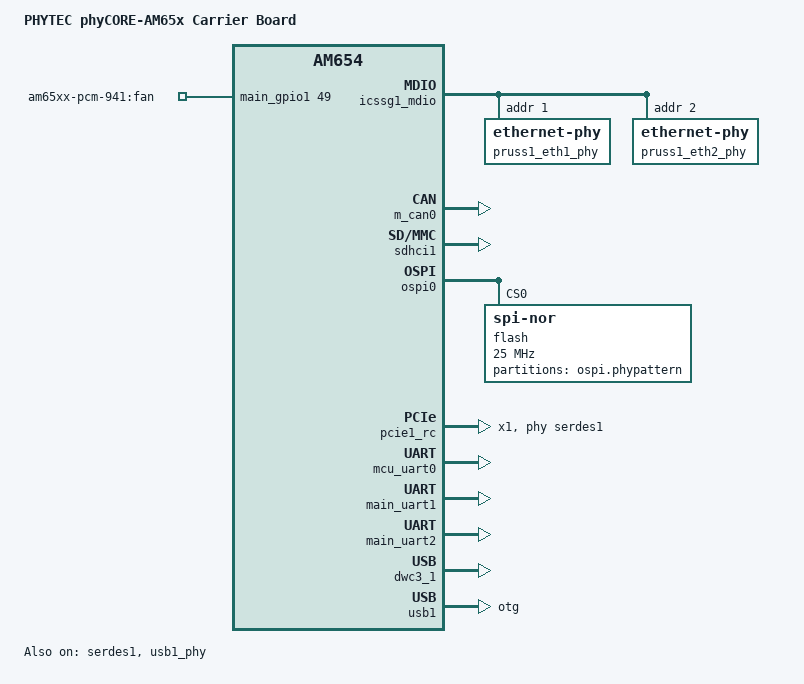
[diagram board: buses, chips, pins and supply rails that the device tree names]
// SPDX-License-Identifier: GPL-2.0
/*
 * Copyright (C) 2018-2020 PHYTEC America, LLC - https://www.phytec.com
 */

#include <dt-bindings/phy/phy.h>

/ {
	model = "PHYTEC phyCORE-AM65x Carrier Board";
	compatible = "phytec,am65xx-pcm-941", "phytec,am65xx-phycore-som", "ti,am654";

	aliases {
		ethernet1 = &pruss1_emac0;
		ethernet2 = &pruss1_emac1;
	};

	chosen {
		/* UART1 as default stdout path */
		stdout-path = &main_uart1;
		bootargs = "earlycon=ns16550a,mmio32,0x02810000";
	};

	display: display {
		status = "disabled";
		pinctrl-names = "default";
		pinctrl-0 = <&display_backlight_en_pin>;

		backlight = <&display_backlight>;
		enable-gpios = <&main_gpio1 57 GPIO_ACTIVE_LOW>;
	};

	display_backlight: display_backlight {
		status = "disabled";
		compatible = "pwm-backlight";
		pwms = <&ecap0 0 50000 0>;
	};

	/* fan set always on */
	gpio_fan: gpio_fan {
		compatible = "gpio-leds";
		pinctrl-names = "default";
		pinctrl-0 = <&gpio_fan_pins_default>;

		fan@0 {
			label = "am65xx-pcm-941:fan";
			gpios = <&main_gpio1 49 GPIO_ACTIVE_HIGH>;
			default-state = "on";
		};
	};

	/* Dual Ethernet application node on PRU-ICSSG1 */
	pruss1_eth: pruss1_eth {
		compatible = "ti,am654-icssg-prueth";
		pinctrl-names = "default";
		pinctrl-0 = <&icssg1_rgmii_pins_default>;
		sram = <&msmc_ram>;
		prus = <&pru1_0>, <&rtu1_0>, <&tx_pru1_0>, <&pru1_1>, <&rtu1_1>, <&tx_pru1_1>;
		firmware-name = "ti-pruss/am65x-sr2-pru0-prueth-fw.elf",
				"ti-pruss/am65x-sr2-rtu0-prueth-fw.elf",
				"ti-pruss/am65x-sr2-txpru0-prueth-fw.elf",
				"ti-pruss/am65x-sr2-pru1-prueth-fw.elf",
				"ti-pruss/am65x-sr2-rtu1-prueth-fw.elf",
				"ti-pruss/am65x-sr2-txpru1-prueth-fw.elf";

		ti,pruss-gp-mux-sel = <2>,	/* MII mode */
				      <2>,
				      <2>,
				      <2>,	/* MII mode */
				      <2>,
				      <2>;
		mii-g-rt = <&icssg1_mii_g_rt>;
		mii-rt = <&icssg1_mii_rt>;
		dma-coherent;
		dmas = <&main_udmap 0xc200>, /* egress slice 0 */
		       <&main_udmap 0xc201>, /* egress slice 0 */
		       <&main_udmap 0xc202>, /* egress slice 0 */
		       <&main_udmap 0xc203>, /* egress slice 0 */
		       <&main_udmap 0xc204>, /* egress slice 1 */
		       <&main_udmap 0xc205>, /* egress slice 1 */
		       <&main_udmap 0xc206>, /* egress slice 1 */
		       <&main_udmap 0xc207>, /* egress slice 1 */

		       <&main_udmap 0x4200>, /* ingress slice 0 */
		       <&main_udmap 0x4201>, /* ingress slice 1 */
		       <&main_udmap 0x4202>, /* mgmnt rsp slice 0 */
		       <&main_udmap 0x4203>; /* mgmnt rsp slice 1 */
		dma-names = "tx0-0", "tx0-1", "tx0-2", "tx0-3",
			    "tx1-0", "tx1-1", "tx1-2", "tx1-3",
			    "rx0", "rx1",
			    "rxmgm0", "rxmgm1";

		pruss1_emac0: ethernet-mii0 {
			phy-handle = <&pruss1_eth1_phy>;
			phy-mode = "rgmii-rxid";
			interrupts-extended = <&icssg1_intc 24>;
			syscon-rgmii-delay = <&scm_conf 0x4110>;
			iep = <&icssg1_iep0>;
			/* Filled in by bootloader */
			local-mac-address = [00 00 00 00 00 00];
		};

		pruss1_emac1: ethernet-mii1 {
			phy-handle = <&pruss1_eth2_phy>;
			phy-mode = "rgmii-rxid";
			interrupts-extended = <&icssg1_intc 25>;
			syscon-rgmii-delay = <&scm_conf 0x4114>;
			/* Filled in by bootloader */
			local-mac-address = [00 00 00 00 00 00];
		};
	};
};

&main_pmx0 {
	display_backlight_en_pin: display_backlight_en_pin {
		pinctrl-single,pins = <
			AM65X_IOPAD(0x0264, PIN_OUTPUT, 7)	/* (W27) PRG0_PRU1_GPO8.GPIO1_57 */
		>;
	};

	gpio_fan_pins_default: gpio_fan_pins_default {
		pinctrl-single,pins = <
			AM65X_IOPAD(0x0244, PIN_OUTPUT, 7)	/* (AB28) PRG0_PRU1_GPO0.GPIO1_49 */
		>;
	};

	icssg1_mdio_pins_default: icssg1_mdio_pins_default {
		pinctrl-single,pins = <
			AM65X_IOPAD(0x0180, PIN_INPUT, 0)	/* (AD18) PRG1_MDIO0_MDIO */
			AM65X_IOPAD(0x0184, PIN_OUTPUT, 0)	/* (AH18) PRG1_MDIO0_MDC */
		>;
	};

	icssg1_rgmii_pins_default: icssg1_rgmii_pins_default {
		pinctrl-single,pins = <
			AM65X_IOPAD(0x00e0, PIN_INPUT, 2)	/* (AE22) PRG1_PRU0_GPO0.PRG1_RGMII1_RD0 */
			AM65X_IOPAD(0x00e4, PIN_INPUT, 2)	/* (AG24) PRG1_PRU0_GPO1.PRG1_RGMII1_RD1 */
			AM65X_IOPAD(0x00e8, PIN_INPUT, 2)	/* (AF23) PRG1_PRU0_GPO2.PRG1_RGMII1_RD2 */
			AM65X_IOPAD(0x00ec, PIN_INPUT, 2)	/* (AD21) PRG1_PRU0_GPO3.PRG1_RGMII1_RD3 */
			AM65X_IOPAD(0x00f0, PIN_INPUT, 2)	/* (AG23) PRG1_PRU0_GPO4.PRG1_RGMII1_RX_CTL */
			AM65X_IOPAD(0x00f8, PIN_INPUT, 2)	/* (AF22) PRG1_PRU0_GPO6.PRG1_RGMII1_RXC */
			AM65X_IOPAD(0x010c, PIN_OUTPUT, 2)	/* (AF21) PRG1_PRU0_GPO11.PRG1_RGMII1_TX_CTL */
			AM65X_IOPAD(0x0110, PIN_OUTPUT, 2)	/* (AH20) PRG1_PRU0_GPO12.PRG1_RGMII1_TD0 */
			AM65X_IOPAD(0x0114, PIN_OUTPUT, 2)	/* (AH21) PRG1_PRU0_GPO13.PRG1_RGMII1_TD1 */
			AM65X_IOPAD(0x0118, PIN_OUTPUT, 2)	/* (AG20) PRG1_PRU0_GPO14.PRG1_RGMII1_TD2 */
			AM65X_IOPAD(0x011c, PIN_OUTPUT, 2)	/* (AD19) PRG1_PRU0_GPO15.PRG1_RGMII1_TD3 */
			AM65X_IOPAD(0x0120, PIN_INPUT, 2)	/* (AD20) PRG1_PRU0_GPO16.PRG1_RGMII1_TXC */

			AM65X_IOPAD(0x0130, PIN_INPUT, 2)	/* (AH24) PRG1_PRU1_GPO0.PRG1_RGMII2_RD0 */
			AM65X_IOPAD(0x0134, PIN_INPUT, 2)	/* (AH23) PRG1_PRU1_GPO1.PRG1_RGMII2_RD1 */
			AM65X_IOPAD(0x0138, PIN_INPUT, 2)	/* (AG21) PRG1_PRU1_GPO2.PRG1_RGMII2_RD2 */
			AM65X_IOPAD(0x013c, PIN_INPUT, 2)	/* (AH22) PRG1_PRU1_GPO3.PRG1_RGMII2_RD3 */
			AM65X_IOPAD(0x0140, PIN_INPUT, 2)	/* (AE21) PRG1_PRU1_GPO4.PRG1_RGMII2_RX_CTL */
			AM65X_IOPAD(0x0148, PIN_INPUT, 2)	/* (AG22) PRG1_PRU1_GPO6.PRG1_RGMII2_RXC */
			AM65X_IOPAD(0x015c, PIN_OUTPUT, 2)	/* (AC20) PRG1_PRU1_GPO11.PRG1_RGMII2_TX_CTL */
			AM65X_IOPAD(0x0160, PIN_OUTPUT, 2)	/* (AE20) PRG1_PRU1_GPO12.PRG1_RGMII2_TD0 */
			AM65X_IOPAD(0x0164, PIN_OUTPUT, 2)	/* (AF19) PRG1_PRU1_GPO13.PRG1_RGMII2_TD1 */
			AM65X_IOPAD(0x0168, PIN_OUTPUT, 2)	/* (AH19) PRG1_PRU1_GPO14.PRG1_RGMII2_TD2 */
			AM65X_IOPAD(0x016c, PIN_OUTPUT, 2)	/* (AG19) PRG1_PRU1_GPO15.PRG1_RGMII2_TD3 */
			AM65X_IOPAD(0x0170, PIN_INPUT, 2)	/* (AE19) PRG1_PRU1_GPO16.PRG1_RGMII2_TXC */
		>;
	};

	touchscreen_irq_pin: touchscreen_irq_pin {
		pinctrl-single,pins = <
			AM65X_IOPAD(0x025c, PIN_INPUT, 7)	/* (AB27) PRG0_PRU1_GPO6.GPIO1_55 */
		>;
	};

	main_uart1_pins_default: main_uart1_pins_default {
		pinctrl-single,pins = <
			AM65X_IOPAD(0x014c, PIN_OUTPUT, 6)	/* (AD23) PRG1_PRU1GPO6.UART1_TXD */
			AM65X_IOPAD(0x0174, PIN_INPUT, 6)	/* (AE23) PRG1_PRU1GPO17.UART1_RXD */
			AM65X_IOPAD(0x0178, PIN_INPUT, 6)	/* (AD22) PRG1_PRU1GPO18.UART1_CTS */
			AM65X_IOPAD(0x017c, PIN_OUTPUT, 6)	/* (AC21) PRG1_PRU1GPO19.UART1_RTS */
		>;
	};

	main_uart2_pins_default: main_uart2_pins_default {
		pinctrl-single,pins = <
			AM65X_IOPAD(0x0260, PIN_OUTPUT, 6)	/* (W28) PRG0_PRU1_GPO7.UART2_TXD */
			AM65X_IOPAD(0x0288, PIN_INPUT, 6)	/* (Y27) PRG0_PRU1_GPO17.UART2_RXD */
			AM65X_IOPAD(0x028c, PIN_INPUT, 6)	/* (Y26) PRG0_PRU1_GPO18.UART2_CTS */
			AM65X_IOPAD(0x0290, PIN_OUTPUT, 6)	/* (W26) PRG_PRU1_GPO19.UART2_RTS */
		>;
	};

	usb1_pins_default: usb1_pins_default {
		pinctrl-single,pins = <
			AM65X_IOPAD(0x02c0, PIN_OUTPUT, 0)	/* (AC8) USB1_DRVVBUS */
		>;
	};
};

&main_pmx1 {
	ecap0_pins_default: ecap0_pins_default {
		pinctrl-single,pins = <
			AM65X_IOPAD(0x0010, PIN_INPUT, 0)	/* (D21) ECAP0_IN_APWM_OUT */
		>;
	};
};

&wkup_pmx0 {
	mcu_fss0_ospi0_pins_default: mcu_fss0_ospi0_pins_default {
		pinctrl-single,pins = <
			AM65X_WKUP_IOPAD(0x0000, PIN_OUTPUT_PULLDOWN, 0)	/* (V1) MCU_OSPI0_CLK */
			AM65X_WKUP_IOPAD(0x0008, PIN_INPUT, 0)			/* (U2) MCU_OSPI0_DQS */
			AM65X_WKUP_IOPAD(0x000c, PIN_INPUT, 0)			/* (U4) MCU_OSPI0_D0 */
			AM65X_WKUP_IOPAD(0x0010, PIN_INPUT, 0)			/* (U5) MCU_OSPI0_D1 */
			AM65X_WKUP_IOPAD(0x0014, PIN_INPUT_PULLUP, 0)		/* (T2) MCU_OSPI0_D2 */
			AM65X_WKUP_IOPAD(0x0018, PIN_INPUT, 0)			/* (T3) MCU_OSPI0_D3 */
			AM65X_WKUP_IOPAD(0x001c, PIN_INPUT, 0)			/* (T4) MCU_OSPI0_D4 */
			AM65X_WKUP_IOPAD(0x0020, PIN_INPUT, 0)			/* (T5) MCU_OSPI0_D5 */
			AM65X_WKUP_IOPAD(0x0024, PIN_INPUT, 0)			/* (R2) MCU_OSPI0_D6 */
			AM65X_WKUP_IOPAD(0x0028, PIN_INPUT, 0)			/* (R3) MCU_OSPI0_D7 */
			AM65X_WKUP_IOPAD(0x002c, PIN_OUTPUT, 0)			/* (R4) MCU_OSPI0_CSn0 */
		>;
	};

	mcu_mcan0_pins_default: mcu_mcan0_pins_default {
		pinctrl-single,pins = <
			AM65X_WKUP_IOPAD(0x00a8, PIN_OUTPUT_PULLUP, 0)	/* (W1) MCU_MCAN0_TX */
			AM65X_WKUP_IOPAD(0x00ac, PIN_INPUT_PULLUP, 0)	/* (W2) MCU_MCAN0_RX */
		>;
	};

	mcu_uart0_pins_default: mcu_uart0_pins_default {
		pinctrl-single,pins = <
			AM65X_IOPAD(0x0044, PIN_INPUT, 4)	/* (P4) PRG0_PRU1_GPO17.UART2_RXD */
			AM65X_IOPAD(0x0048, PIN_OUTPUT, 4)	/* (P5) PRG0_PRU1_GPO7.UART2_TXD */
			AM65X_IOPAD(0x004c, PIN_INPUT, 4)	/* (P1) PRG0_PRU1_GPO18.UART2_CTS */
			AM65X_IOPAD(0x0054, PIN_OUTPUT, 4)	/* (N3) PRG_PRU1_GPO19.UART2_RTS */
		>;
	};
};

&icssg1_mdio {
	status = "okay";
	pinctrl-names = "default";
	pinctrl-0 = <&icssg1_mdio_pins_default>;

	pruss1_eth1_phy: ethernet-phy@1 {
		reg = <1>;
		ti,rx-internal-delay = <DP83867_RGMIIDCTL_2_00_NS>;
		ti,fifo-depth = <DP83867_PHYCR_FIFO_DEPTH_4_B_NIB>;
		ti,led-0-active-low;
		ti,led-2-active-low;
	};

	pruss1_eth2_phy: ethernet-phy@2 {
		reg = <2>;
		ti,rx-internal-delay = <DP83867_RGMIIDCTL_2_00_NS>;
		ti,fifo-depth = <DP83867_PHYCR_FIFO_DEPTH_4_B_NIB>;
		ti,led-0-active-low;
		ti,led-2-active-low;
	};
};

&dss_ports {
	display_port: port {
		status = "disabled";

		reg = <0>;
	};
};

&ecap0 {
	status = "disabled";
	pinctrl-names = "default";
	pinctrl-0 = <&ecap0_pins_default>;
};

&main_i2c0 {
	ft5x06: ft5x06@38 {
		status = "disabled";
		pinctrl-names = "default";
		pinctrl-0 = <&touchscreen_irq_pin>;
		interrupt-parent = <&main_gpio1>;
		interrupts = <55 IRQ_TYPE_NONE>;
	};
};

&m_can0 {
	status = "okay";
	pinctrl-names = "default";
	pinctrl-0 = <&mcu_mcan0_pins_default>;

	can-transceiver {
		max-bitrate = <1000000>;
	};
};

&sdhci1 {
	status = "okay";
};

&ospi0 {
	status = "okay";
	pinctrl-names = "default";
	pinctrl-0 = <&mcu_fss0_ospi0_pins_default>;

	flash@0 {
		compatible = "jedec,spi-nor";
		reg = <0x0>;
		spi-tx-bus-width = <8>;
		spi-rx-bus-width = <8>;
		spi-max-frequency = <25000000>;
		cdns,tshsl-ns = <60>;
		cdns,tsd2d-ns = <60>;
		cdns,tchsh-ns = <60>;
		cdns,tslch-ns = <60>;
		cdns,read-delay = <0>;
		cdns,phy-mode;
		#address-cells = <1>;
		#size-cells = <1>;
		partition@3fe0000 {
			label = "ospi.phypattern";
			reg = <0x3fe0000 0x20000>;
		};
	};
};

&pcie0_ep {
	status = "disabled";
};

&pcie0_rc {
	status = "disabled";
};

&pcie1_ep {
	status = "disabled";
};

&pcie1_rc {
	status = "okay";
	num-lanes = <1>;
	phys = <&serdes1 PHY_TYPE_PCIE 0>;
	phy-names = "pcie-phy0";
};

&serdes1 {
	status = "okay";
};

&mcu_uart0 {
	status = "okay";
	pinctrl-names = "default";
	pinctrl-0 = <&mcu_uart0_pins_default>;
};

&main_uart1 {
	status = "okay";
	pinctrl-names = "default";
	pinctrl-0 = <&main_uart1_pins_default>;
};

&main_uart2 {
	status = "okay";
	pinctrl-names = "default";
	pinctrl-0 = <&main_uart2_pins_default>;
};

&dwc3_1 {
	status = "okay";
};

&usb1_phy {
	status = "okay";
};

&usb1 {
	status = "okay";
	pinctrl-names = "default";
	pinctrl-0 = <&usb1_pins_default>;
	dr_mode = "otg";
};
